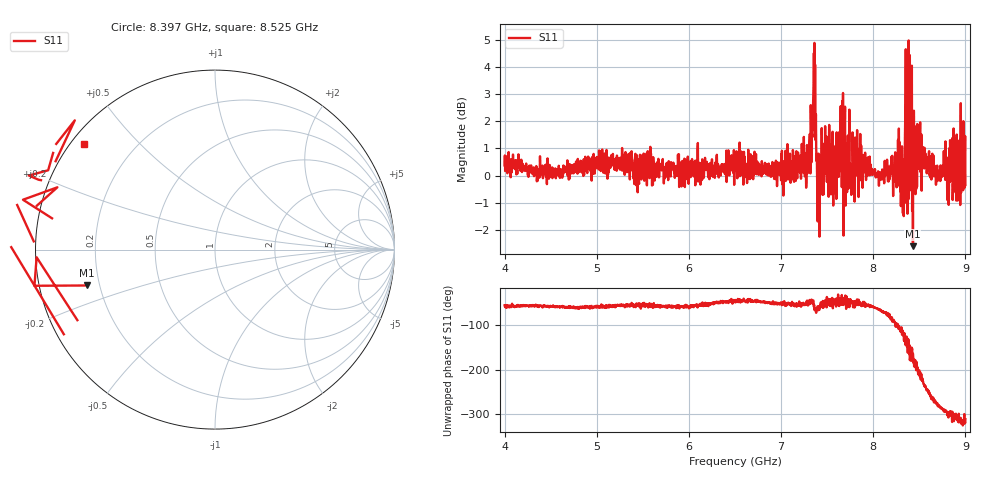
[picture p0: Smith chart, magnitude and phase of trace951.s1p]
! Created with skrf 1.8.0 (http://scikit-rf.org).
# Hz S RI R 50.0
!freq ReS11 ImS11
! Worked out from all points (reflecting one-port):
!   1601 points, 4 GHz to 9 GHz, reference 50 ohm
!   lowest |S11| = -2.6 dB at 8.431 GHz (marker M1), VSWR 6.75, Z = 7.55 - j6.71 ohm
!   phase of S11 starts at -56 deg and turns -255 deg over the sweep
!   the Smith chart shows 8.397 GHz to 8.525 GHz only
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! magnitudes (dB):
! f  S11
! 4 GHz  0.4
! 4.625 GHz  -0.1
! 5.25 GHz  0.2
! 5.875 GHz  0.1
! 6.5 GHz  0.2
! 7.125 GHz  0.2
! 7.294 GHz  0.4
! 7.319 GHz  0.1
! 7.347 GHz  2.5
! 7.369 GHz  4.1
! 7.391 GHz  -0.1
! 7.412 GHz  -0.5
! 7.503 GHz  1.0
! 7.591 GHz  1.1
! 7.669 GHz  1.8
! 7.703 GHz  0.6
! 7.75 GHz  0.1
! 8.097 GHz  0.2
! 8.259 GHz  0.5
! 8.316 GHz  0.2
! 8.334 GHz  -0.4
! 8.375 GHz  0.4
! 8.431 GHz  -2.6
! 8.447 GHz  1.3
! 8.497 GHz  0.5
! 8.797 GHz  0.7
! 8.972 GHz  0.5
! 9 GHz  -0.3
